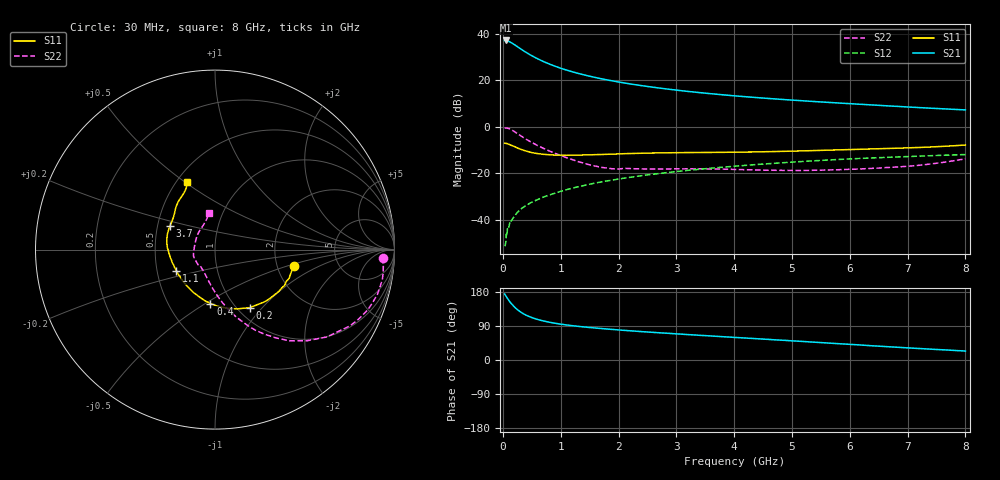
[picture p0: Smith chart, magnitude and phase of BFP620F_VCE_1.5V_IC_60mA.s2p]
! Infineon Technologies  Discrete & RF Semiconductors
! BFP620F
! VCE =  1.5 V,  IC =  60 mA
! Common Emitter S-Parameters:  Dec 2014
# GHz  S  MA  R  50
!  f  S11  S21  S12  S22
! GHz  MAG  ANG  MAG  ANG  MAG  ANG  MAG  ANG
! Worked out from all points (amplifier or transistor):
!   95 points, 30 MHz to 8 GHz, reference 50 ohm
!   highest |S21| = 37.2 dB at 50 MHz (marker M1)
!   |S21| within 3 dB of that: start of sweep to 271.3 MHz
!   unconditionally stable (mu >= 1): 1.772 GHz to end of sweep
!   at 300 MHz: K = 0.53, MSG = 34.7 dB, |S12| = -35.6 dB
!   at 3.3 GHz: K = 1.03, MAG = 15.7 dB, |S12| = -18.5 dB
!   at 8 GHz: K = 1.05, MAG = 8.2 dB, |S12| = -11.9 dB
!   S11 on the Smith chart (normalised r, x): 30 MHz: 2.47, -0.56; 200 MHz: 1.14, -0.86; 400 MHz: 0.80, -0.53; 1.1 GHz: 0.63, -0.16; 3.7 GHz: 0.58, +0.16; 8 GHz: 0.57, +0.51
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0.03  0.448 -11.6  72.13 174.3  0.0027 99.3  0.9346 -2.8
0.05  0.4423 -18.0  72.71 169.5  0.0033 83.9  0.9458 -7.9
0.09  0.4286 -30.0  70.64 160.2  0.0063 80.7  0.9313 -17.3
0.13  0.4092 -41.9  66.69 151.8  0.0086 77.0  0.8892 -25.8
0.15  0.4003 -46.9  64.68 148.2  0.0097 76.3  0.8622 -29.6
0.2  0.3768 -59.1  59.01 139.9  0.012 75.7  0.7908 -38.0
0.25  0.3527 -69.5  53.64 133.0  0.0144 72.1  0.7201 -44.9
0.3  0.333 -78.7  48.69 127.3  0.0166 70.7  0.6552 -50.8
0.4  0.3014 -94.8  40.4 118.4  0.0202 69.6  0.5444 -59.8
0.5  0.2796 -107.1  34.1 112.0  0.0239 69.3  0.4621 -66.6
0.6  0.2662 -117.9  29.32 107.0  0.0272 69.1  0.3967 -72.3
0.7  0.2567 -126.4  25.61 103.0  0.0308 69.1  0.3459 -77.1
0.9  0.2472 -140.4  20.31 97.0  0.0374 69.4  0.2704 -85.4
1.1  0.2448 -151.2  16.75 92.5  0.0443 69.5  0.2175 -93.3
1.4  0.2488 -163.2  13.23 87.3  0.0547 68.6  0.1653 -105.2
1.9  0.2591 -177.5  9.767 80.6  0.0718 66.5  0.1251 -128.0
2.7  0.2754 167.1  6.884 71.9  0.0989 62.2  0.1238 -151.2
3.7  0.283 152.8  5.048 62.4  0.1324 56.0  0.1238 -165.9
4.1  0.2861 147.8  4.567 58.8  0.1453 53.3  0.1205 -171.8
5.4  0.3098 135.9  3.511 46.9  0.1868 44.0  0.1167 160.9
6.7  0.3441 124.3  2.819 34.7  0.2224 34.0  0.1345 130.8
8  0.4076 112.1  2.322 23.6  0.254 24.4  0.2051 98.8
